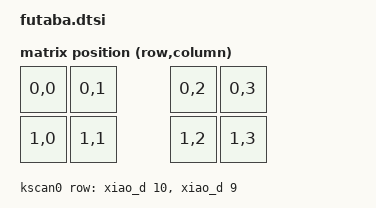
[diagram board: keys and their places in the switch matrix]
// キーの座標変換に使うマクロ（RC(row, column) など）を読み込み
#include <dt-bindings/zmk/matrix_transform.h>

// 物理レイアウトの構造を記述するためのベース定義ファイルをインクルード
#include <physical_layouts.dtsi>

/ {
    // 使用する物理レイアウト（physical_layout0）を選択肢として指定
    chosen {
        zmk,physical-layout = &physical_layout0;
    };

    // 実際の物理レイアウトの定義
    physical_layout0: physical_layout0 {
        compatible = "zmk,physical-layout";  // ZMKが物理レイアウトとして認識するための互換名
        display-name = "Futaba Keyboard";  // GUI表示などでのキーボード名
        kscan = <&kscan0>;  // スキャン対象のキーマトリクスノード
        transform = <&default_transform>;  // 論理キー→物理キーの変換ルールを指定

        // 各キーの物理的な位置とサイズを定義（キースイッチ単位）
        // フォーマット: <幅 高さ X座標 Y座標 回転角度 回転基準X 回転基準Y>
        keys
            = <&key_physical_attrs 100 100    0    0       0     0     0>  // 1列目, 1行目
            , <&key_physical_attrs 100 100  100    0       0     0     0>  // 2列目, 1行目
            , <&key_physical_attrs 100 100  300    0       0     0     0>  // 3列目, 1行目（←200開けてる？）
            , <&key_physical_attrs 100 100  400    0       0     0     0>  // 4列目, 1行目
            , <&key_physical_attrs 100 100    0  100       0     0     0>  // 1列目, 2行目
            , <&key_physical_attrs 100 100  100  100       0     0     0>  // 2列目, 2行目
            , <&key_physical_attrs 100 100  300  100       0     0     0>  // 3列目, 2行目（←200開けてる？）
            , <&key_physical_attrs 100 100  400  100       0     0     0>  // 4列目, 2行目
            ;
    };

    // 行列変換ルール（キーの論理配列と物理レイアウトを一致させる）
    default_transform: keymap_transform0 {
        compatible = "zmk,matrix-transform";  // ZMKが認識できる変換形式
        columns = <4>;  // 列数：4
        rows = <2>;     // 行数：2

        // 論理行列上の位置（row-column）とキー番号を対応付け
        map = <
            RC(0,0) RC(0,1) RC(0,2) RC(0,3)  // 1行目（上段）
            RC(1,0) RC(1,1) RC(1,2) RC(1,3)  // 2行目（下段）
        >;
    };

    // GPIOマトリクスによるキー入力スキャンの定義
    kscan0: kscan0 {
        compatible = "zmk,kscan-gpio-matrix";  // GPIOを用いた行列スキャン方式
        diode-direction = "col2row";  // ダイオードの向き（列→行）

        // 行ピンの定義（2本）：XIAOのD10とD9を使用
        row-gpios
            = <&xiao_d 10 (GPIO_ACTIVE_HIGH | GPIO_PULL_DOWN)>  // 行0
            , <&xiao_d 9  (GPIO_ACTIVE_HIGH | GPIO_PULL_DOWN)>; // 行1
    };
};
